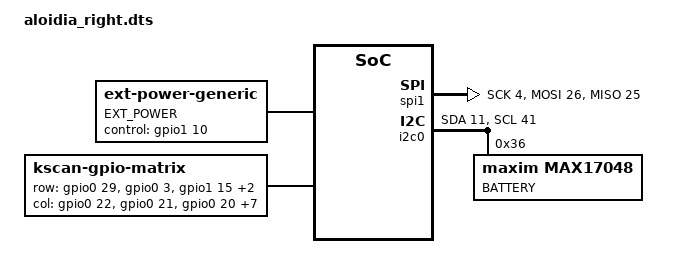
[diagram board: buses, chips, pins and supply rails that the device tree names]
/*
*
* Copyright (c) 2023 Vincent Nguyen
* SPDX-License-Identifier: MIT
*
*/

#include "aloidia.dtsi"

/{
    ext-power {
            compatible = "zmk,ext-power-generic";
            label = "EXT_POWER";
            control-gpios = <&gpio1 10 GPIO_ACTIVE_HIGH>;
            init-delay-ms = <50>;
        };
};

nice_view_spi: &spi1 {
	compatible = "nordic,nrf-spim";
	sck-pin = <4>;
	mosi-pin = <26>;
	miso-pin = <25>; // unused
	cs-gpios = <&gpio0 27 GPIO_ACTIVE_HIGH>;
};



&i2c0 {
	status = "okay";
	sda-pin = <11>;
	scl-pin = <41>;

	fuel_gauge: max17048@36 {
		compatible = "maxim,max17048";
		status = "okay";
		label = "BATTERY";
		reg = <0x36>;
	};
};

/ {
    chosen {
        zmk,battery = &fuel_gauge;
    };
};

/{
    kscan0: kscan {
            compatible = "zmk,kscan-gpio-matrix";
            label = "KSCAN";

            diode-direction = "row2col";

            row-gpios
                = <&gpio0 29  GPIO_ACTIVE_HIGH>
                , <&gpio0 3  GPIO_ACTIVE_HIGH>
                , <&gpio1 15 GPIO_ACTIVE_HIGH>
                , <&gpio1 14 GPIO_ACTIVE_HIGH>
                , <&gpio1 13 GPIO_ACTIVE_HIGH>
                ;
            col-gpios
                = <&gpio0 22 (GPIO_ACTIVE_HIGH | GPIO_PULL_DOWN)>
                , <&gpio0 21 (GPIO_ACTIVE_HIGH | GPIO_PULL_DOWN)>
                , <&gpio0 20 (GPIO_ACTIVE_HIGH | GPIO_PULL_DOWN)>
                , <&gpio0 23 (GPIO_ACTIVE_HIGH | GPIO_PULL_DOWN)>
                , <&gpio0 19 (GPIO_ACTIVE_HIGH | GPIO_PULL_DOWN)>
                , <&gpio0 17 (GPIO_ACTIVE_HIGH | GPIO_PULL_DOWN)>
                , <&gpio0 30 (GPIO_ACTIVE_HIGH | GPIO_PULL_DOWN)>
                , <&gpio0 28 (GPIO_ACTIVE_HIGH | GPIO_PULL_DOWN)>
                , <&gpio0 31 (GPIO_ACTIVE_HIGH | GPIO_PULL_DOWN)>
                , <&gpio0 2  (GPIO_ACTIVE_HIGH | GPIO_PULL_DOWN)>
                ;
    };

    // right_encoder_dummy1: encoder_right_dummy1 {
    //     compatible = "alps,ec11";
    //     label = "RIGHT_ENCODER_DUMMY1";
    //     a-gpios = <&gpio1 3 (GPIO_ACTIVE_HIGH | GPIO_PULL_UP)>;
    //     b-gpios = <&gpio1 4 (GPIO_ACTIVE_HIGH | GPIO_PULL_UP)>;
    //     resolution = <4>;
    // };

    // right_encoder_dummy2: encoder_right_dummy2 {
    //     compatible = "alps,ec11";
    //     label = "RIGHT_ENCODER_DUMMY2";
    //     a-gpios = <&gpio1 3 (GPIO_ACTIVE_HIGH | GPIO_PULL_UP)>;
    //     b-gpios = <&gpio1 4 (GPIO_ACTIVE_HIGH | GPIO_PULL_UP)>;
    //     resolution = <4>;
    // };

    // right_encoder_ec11: encoder_right_ec11 {
    //     compatible = "alps,ec11";
    //     label = "RIGHT_ENCODER_EC11";
    //     a-gpios = <&gpio1 12 (GPIO_ACTIVE_HIGH | GPIO_PULL_UP)>;
    //     b-gpios = <&gpio1 11 (GPIO_ACTIVE_HIGH | GPIO_PULL_UP)>;
    //     resolution = <4>;
    // };

    // right_encoder_evq: encoder_right_evq {
    //     compatible = "alps,ec11";
    //     label = "RIGHT_ENCODER_EVQ";
    //     a-gpios = <&gpio0 13 (GPIO_ACTIVE_HIGH | GPIO_PULL_UP)>;
    //     b-gpios = <&gpio0 16 (GPIO_ACTIVE_HIGH | GPIO_PULL_UP)>;
    //     resolution = <4>;
    // };

    left_encoder_ec11: encoder_left_ec11 {
        a-gpios = <&gpio1 3 (GPIO_ACTIVE_HIGH | GPIO_PULL_UP)>;
        b-gpios = <&gpio1 4 (GPIO_ACTIVE_HIGH | GPIO_PULL_UP)>;
    };

    left_encoder_evq: encoder_left_evq {
        a-gpios = <&gpio1 3 (GPIO_ACTIVE_HIGH | GPIO_PULL_UP)>;
        b-gpios = <&gpio1 4 (GPIO_ACTIVE_HIGH | GPIO_PULL_UP)>;
    };
    right_encoder_ec11: encoder_right_ec11 {
        a-gpios = <&gpio1 12 (GPIO_ACTIVE_HIGH | GPIO_PULL_UP)>;
        b-gpios = <&gpio1 11 (GPIO_ACTIVE_HIGH | GPIO_PULL_UP)>;
    };

    right_encoder_evq: encoder_right_evq {
        a-gpios = <&gpio0 13 (GPIO_ACTIVE_HIGH | GPIO_PULL_UP)>;
        b-gpios = <&gpio0 16 (GPIO_ACTIVE_HIGH | GPIO_PULL_UP)>;
    };

	sensors {
        compatible = "zmk,keymap-sensors";
        // sensors = <&right_encoder_dummy1 &right_encoder_dummy2 &right_encoder_ec11 &right_encoder_evq>;
        sensors = <&left_encoder_ec11 &left_encoder_evq &right_encoder_ec11 &right_encoder_evq>;
    };
};   

&default_transform {
		col-offset = <10>;
	};

// &right_encoder_dummy1 {
// 	status = "okay";
// };

// &right_encoder_dummy2 {
// 	status = "okay";
// };

// &right_encoder_ec11 {
// 	status = "okay";
// };

// &right_encoder_evq {
// 	status = "okay";
// };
